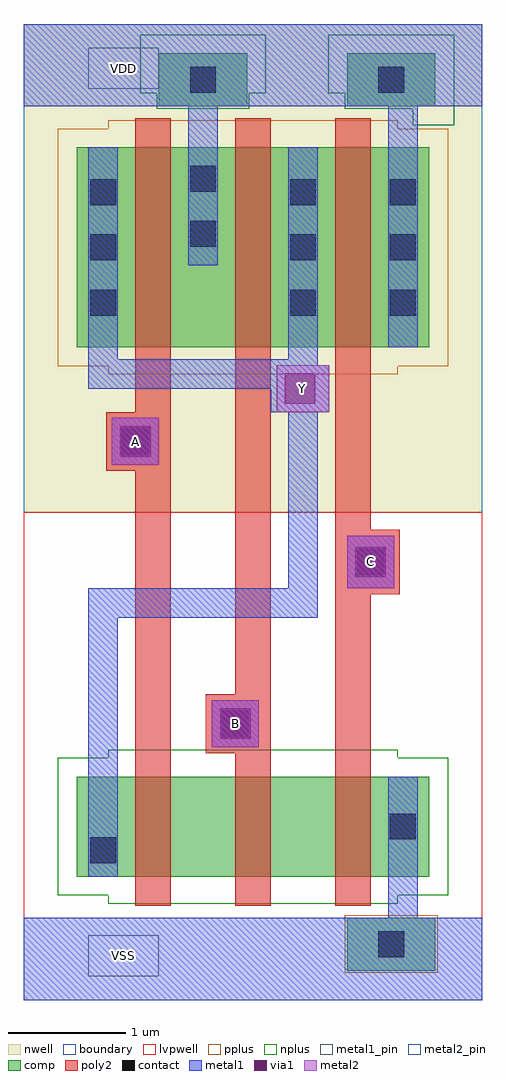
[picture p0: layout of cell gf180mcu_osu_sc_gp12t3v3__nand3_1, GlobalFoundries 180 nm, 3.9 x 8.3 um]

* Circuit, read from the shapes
.subckt gf180mcu_osu_sc_gp12t3v3__nand3_1 A B C VDD VSS Y
XM1 n1 A Y VSS nfet_03v3 w=0.85u l=0.3u
XM2 n2 B n1 VSS nfet_03v3 w=0.85u l=0.3u
XM3 VSS C n2 VSS nfet_03v3 w=0.85u l=0.3u
XM4 VDD A Y VDD pfet_03v3 w=1.7u l=0.3u
XM5 Y B VDD VDD pfet_03v3 w=1.7u l=0.3u
XM6 VDD C Y VDD pfet_03v3 w=1.7u l=0.3u
.ends

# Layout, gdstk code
import gdstk
lib = gdstk.Library(unit=1e-6, precision=1e-09)
def R(c, l, rs):  # rectangles x0, y0, x1, y1
    for r in rs: c.add(gdstk.rectangle(r[:2], r[2:], *l))
def A(c, l, x, y, w, h, nx, ny, dx, dy):  # array of equal rectangles
    R(c, l, [(x+i*dx, y+j*dy, x+i*dx+w, y+j*dy+h) for i in range(nx) for j in range(ny)])
boundary = (0, 0)
nwell = (21, 0)
comp = (22, 0)
poly2 = (30, 0)
pplus = (31, 0)
nplus = (32, 0)
contact = (33, 0)
metal1 = (34, 0)
metal1_pin = (34, 10)
via1 = (35, 0)
metal2 = (36, 0)
metal2_pin = (36, 10)
lvpwell = (204, 0)

gf180mcu_osu_sc_gp12t3v3 = lib.new_cell('gf180mcu_osu_sc_gp12t3v3__nand3_1')
R(gf180mcu_osu_sc_gp12t3v3, boundary, [(-0.85,0,3.05,8.3)])
R(gf180mcu_osu_sc_gp12t3v3, nwell, [(-0.85,4.15,3.05,8.3)])
R(gf180mcu_osu_sc_gp12t3v3, comp, [(1.9,0.25,2.65,0.7), (-0.4,1.05,2.6,1.9), (-0.4,5.55,2.6,7.25), (0.3,7.6,1.05,8.05), (1.9,7.6,2.65,8.05)])
R(gf180mcu_osu_sc_gp12t3v3, poly2, [(0.1,0.8,0.4,4.5), (0.95,0.8,1.25,2.1), (1.8,0.8,2.1,3.45), (0.7,2.1,1.25,2.6), (0.95,2.6,1.25,7.5), (1.8,3.45,2.35,4), (1.8,4,2.1,7.5), (-0.15,4.5,0.4,5), (0.1,5,0.4,7.5)])
R(gf180mcu_osu_sc_gp12t3v3, pplus, [(1.88,0.23,2.67,0.72), (-0.13,5.32,2.33,5.39), (-0.56,5.39,2.76,7.41), (-0.13,7.41,2.33,7.48)])
R(gf180mcu_osu_sc_gp12t3v3, nplus, [(-0.13,0.82,2.33,0.89), (-0.56,0.89,2.76,2.06), (-0.13,2.06,2.33,2.13), (2.46,7.44,2.81,7.58), (0.28,7.58,1.07,7.71), (1.88,7.58,2.81,7.71), (0.14,7.71,1.21,8.21), (1.74,7.71,2.81,8.21)])
A(gf180mcu_osu_sc_gp12t3v3, contact, -0.285, 5.82, 0.22, 0.22, 1, 3, 0, 0.47)
A(gf180mcu_osu_sc_gp12t3v3, contact, 1.415, 5.82, 0.22, 0.22, 1, 3, 0, 0.47)
A(gf180mcu_osu_sc_gp12t3v3, contact, 2.265, 5.82, 0.22, 0.22, 1, 3, 0, 0.47)
R(gf180mcu_osu_sc_gp12t3v3, contact, [(2.165,0.365,2.385,0.585), (-0.285,1.165,-0.065,1.385), (2.265,1.365,2.485,1.585), (0.84,2.24,1.06,2.46), (1.99,3.615,2.21,3.835), (-0.01,4.64,0.21,4.86), (0.565,6.405,0.785,6.625), (0.565,6.875,0.785,7.095), (0.565,7.715,0.785,7.935), (2.165,7.715,2.385,7.935)])
R(gf180mcu_osu_sc_gp12t3v3, metal1, [(-0.85,0,3.05,0.7), (2.25,0.7,2.5,1.9), (-0.3,1.05,-0.05,3.25), (0.75,2.15,1.15,2.55), (-0.3,3.25,1.65,3.5), (1.4,3.5,1.65,5), (1.9,3.5,2.3,3.95), (-0.1,4.55,0.3,4.95), (1.25,5,1.75,5.2), (-0.3,5.2,1.75,5.4), (-0.3,5.4,1.65,5.45), (-0.3,5.45,-0.05,7.25), (1.4,5.45,1.65,7.25), (2.25,5.55,2.5,7.6), (0.55,6.25,0.8,7.6), (-0.85,7.6,3.05,8.3)])
R(gf180mcu_osu_sc_gp12t3v3, metal1_pin, [(-0.3,0.2,0.3,0.55), (-0.3,7.75,0.3,8.1)])
R(gf180mcu_osu_sc_gp12t3v3, via1, [(0.82,2.22,1.08,2.48), (1.97,3.595,2.23,3.855), (-0.03,4.62,0.23,4.88), (1.37,5.07,1.63,5.33)])
R(gf180mcu_osu_sc_gp12t3v3, metal2, [(0.75,2.15,1.15,2.55), (1.9,3.5,2.3,3.95), (-0.1,4.55,0.3,4.95), (1.3,5,1.75,5.4)])
R(gf180mcu_osu_sc_gp12t3v3, metal2_pin, [(0.75,2.15,1.15,2.55), (1.9,3.5,2.3,3.95), (-0.1,4.55,0.3,4.95), (1.3,5,1.75,5.4)])
R(gf180mcu_osu_sc_gp12t3v3, lvpwell, [(-0.85,0,3.05,4.15)])
gf180mcu_osu_sc_gp12t3v3.add(gdstk.Label('A', (0.1,4.75), layer=36, texttype=10))
gf180mcu_osu_sc_gp12t3v3.add(gdstk.Label('B', (0.95,2.35), layer=36, texttype=10))
gf180mcu_osu_sc_gp12t3v3.add(gdstk.Label('Y', (1.525,5.2), layer=36, texttype=10))
gf180mcu_osu_sc_gp12t3v3.add(gdstk.Label('C', (2.1,3.725), layer=36, texttype=10))
gf180mcu_osu_sc_gp12t3v3.add(gdstk.Label('VDD', (0,7.925), layer=34, texttype=10))
gf180mcu_osu_sc_gp12t3v3.add(gdstk.Label('VSS', (0,0.375), layer=34, texttype=10))

lib.write_gds('gf180mcu_osu_sc_gp12t3v3__nand3_1.gds')
